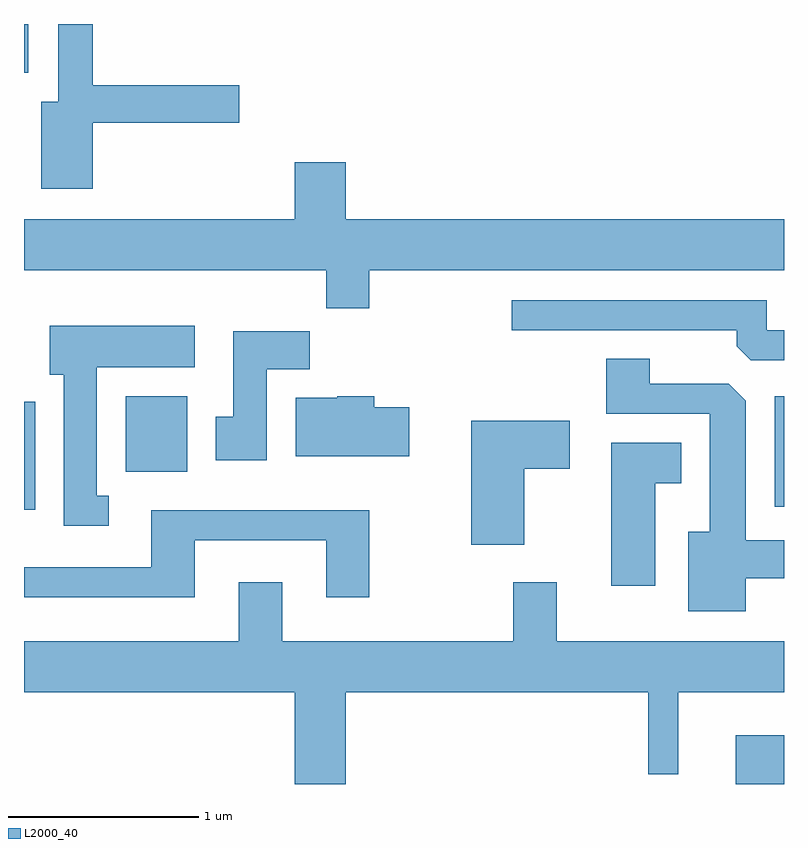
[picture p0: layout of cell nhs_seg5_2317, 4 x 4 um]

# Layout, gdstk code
import gdstk
lib = gdstk.Library(unit=1e-6, precision=1e-09)
def R(c, l, rs):  # rectangles x0, y0, x1, y1
    for r in rs: c.add(gdstk.rectangle(r[:2], r[2:], *l))
def P(c, l, *ps):  # polygons
    for p in ps: c.add(gdstk.Polygon(p, *l))
L2000_40 = (2000, 40)

nhs_seg5_2317 = lib.new_cell('nhs_seg5_2317')
R(nhs_seg5_2317, L2000_40, [(257.356,1474.072,257.611,1474.329), (253.611,1475.516,253.669,1476.084), (257.561,1475.531,257.611,1476.114), (254.146,1475.716,254.469,1476.114), (253.611,1477.816,253.634,1478.072)])
P(nhs_seg5_2317, L2000_40, [(253.974,1477.551),(254.744,1477.551),(254.744,1477.749),(253.974,1477.749),(253.974,1478.072),(253.791,1478.072),(253.791,1477.664),(253.701,1477.664),(253.701,1477.206),(253.974,1477.206)],
  [(255.304,1477.344),(255.036,1477.344),(255.036,1477.044),(253.611,1477.044),(253.611,1476.776),(255.201,1476.776),(255.201,1476.576),(255.429,1476.576),(255.429,1476.776),(257.611,1476.776),(257.611,1477.044),(255.304,1477.044)],
  [(257.611,1476.459),(257.519,1476.459),(257.519,1476.619),(256.178,1476.619),(256.178,1476.461),(257.361,1476.461),(257.361,1476.377),(257.437,1476.301),(257.611,1476.301)],
  [(254.058,1475.589),(253.994,1475.589),(253.994,1476.266),(254.509,1476.266),(254.509,1476.484),(253.746,1476.484),(253.746,1476.226),(253.821,1476.226),(253.821,1475.431),(254.058,1475.431)],
  [(254.889,1476.256),(255.114,1476.256),(255.114,1476.454),(254.711,1476.454),(254.711,1476.004),(254.621,1476.004),(254.621,1475.776),(254.889,1475.776)],
  [(257.409,1475.156),(257.611,1475.156),(257.611,1475.354),(257.409,1475.354),(257.409,1476.089),(257.319,1476.179),(256.904,1476.179),(256.904,1476.309),(256.676,1476.309),(256.676,1476.021),(257.221,1476.021),(257.221,1475.399),(257.106,1475.399),(257.106,1474.981),(257.409,1474.981)],
  [(255.639,1476.054),(255.454,1476.054),(255.454,1476.114),(255.26,1476.114),(255.26,1476.104),(255.041,1476.104),(255.041,1475.796),(255.639,1475.796)],
  [(256.244,1475.731),(256.484,1475.731),(256.484,1475.984),(255.966,1475.984),(255.966,1475.331),(256.244,1475.331)],
  [(256.934,1475.656),(257.069,1475.656),(257.069,1475.869),(256.701,1475.869),(256.701,1475.116),(256.934,1475.116)],
  [(254.509,1475.356),(255.201,1475.356),(255.201,1475.056),(255.429,1475.056),(255.429,1475.514),(254.281,1475.514),(254.281,1475.214),(253.611,1475.214),(253.611,1475.056),(254.509,1475.056)],
  [(255.304,1474.556),(256.896,1474.556),(256.896,1474.123),(257.054,1474.123),(257.054,1474.556),(257.611,1474.556),(257.611,1474.824),(256.414,1474.824),(256.414,1475.134),(256.186,1475.134),(256.186,1474.824),(254.969,1474.824),(254.969,1475.134),(254.741,1475.134),(254.741,1474.824),(253.611,1474.824),(253.611,1474.556),(255.036,1474.556),(255.036,1474.072),(255.304,1474.072)])

lib.write_gds('nhs_seg5_2317.gds')
